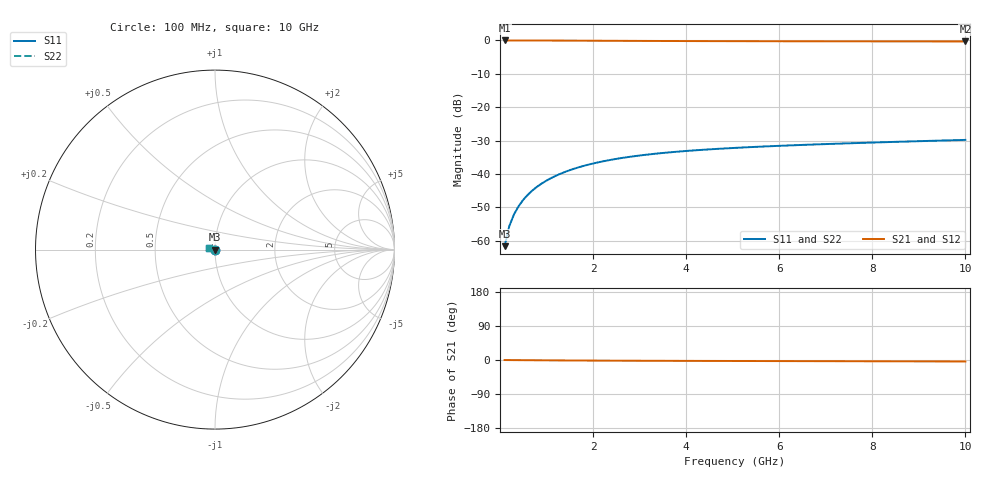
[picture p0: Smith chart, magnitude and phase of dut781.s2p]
! Touchstone file exported from HFSS 2024.1.0
!  File:  C:/UserFiles/LocalFiles/RDL_TSV_Batchsim/temp_TSV1_781_1779874507.aedt
!  Generated:  05:39:24 PM May 27, 2026
!  Design:  TSV1
!  Project:  temp_TSV1_781_1779874507
!  Setup:  Setup1
!  Solution:  Sweep
! Variables:
!  dtsv = 9.77um
!  hbump = 3um
!  htsv = 56.27um
!  lrdl = 252.1521522um
!  p = 40
!  p1 = 54.93um
!  t = 500um
!  trdl = 3um
!  wrdl = 24.89489489um
# GHz S MA R 50.000000
! Terminal data exported
! Port[1] = TSV22_T1
! Port[2] = TSV22_T2
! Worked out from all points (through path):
!   100 points, 100 MHz to 10 GHz, reference 50 ohm
!   highest |S21| = 0.00 dB at 100 MHz (marker M1); lowest = -0.3 dB at 10 GHz (marker M2)
!   lowest |S11| = -61.6 dB at 100 MHz (marker M3), VSWR 1.00, Z = 50 - j0.0825 ohm
!   |S11| at or under -10 dB: start of sweep to end of sweep
!   |S22| runs from -61.6 to -29.8 dB; largest |S21 - S12| = 6.2e-15
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0.1  0.0008304 -83.6  0.9998 -0.1  0.9998 -0.1  0.0008304 -83.6
! Gamma 0 0 0 0
! Port Impedance 50 0 50 0
0.2  0.001652 -89.7  0.9997 -0.2  0.9997 -0.2  0.001652 -89.7
0.3  0.002475 -93.2  0.9996 -0.3  0.9996 -0.3  0.002475 -93.2
0.4  0.003293 -96.0  0.9993 -0.4  0.9993 -0.4  0.003293 -96.0
0.5  0.004104 -98.5  0.9991 -0.5  0.9991 -0.5  0.004104 -98.5
0.6  0.004904 -100.9  0.9987 -0.5  0.9987 -0.5  0.004904 -100.9
0.7  0.005692 -103.2  0.9984 -0.6  0.9984 -0.6  0.005692 -103.2
0.8  0.006466 -105.4  0.9979 -0.7  0.9979 -0.7  0.006466 -105.4
0.9  0.007225 -107.5  0.9975 -0.8  0.9975 -0.8  0.007225 -107.5
1.1  0.008695 -111.6  0.9964 -1.0  0.9964 -1.0  0.008695 -111.6
1.4  0.01076 -117.5  0.9946 -1.2  0.9946 -1.2  0.01076 -117.5
1.6  0.01204 -121.2  0.9934 -1.3  0.9934 -1.3  0.01204 -121.2
1.8  0.01324 -124.7  0.9921 -1.4  0.9921 -1.4  0.01324 -124.7
2.1  0.0149 -129.7  0.99 -1.6  0.99 -1.6  0.0149 -129.7
2.5  0.01684 -135.9  0.9874 -1.8  0.9874 -1.8  0.01684 -135.9
2.9  0.01853 -141.6  0.985 -2.0  0.985 -2.0  0.01853 -141.6
3.4  0.02032 -148.0  0.9822 -2.1  0.9822 -2.1  0.02032 -148.0
4.2  0.02264 -156.9  0.9785 -2.4  0.9785 -2.4  0.02264 -156.9
5.1  0.02471 -165.5  0.9753 -2.6  0.9753 -2.6  0.02471 -165.5
6.7  0.02759 -177.8  0.9713 -3.0  0.9713 -3.0  0.02759 -177.8
8.4  0.03016 171.7  0.9685 -3.5  0.9685 -3.5  0.03016 171.7
10  0.03242 163.6  0.9668 -3.9  0.9668 -3.9  0.03242 163.6
